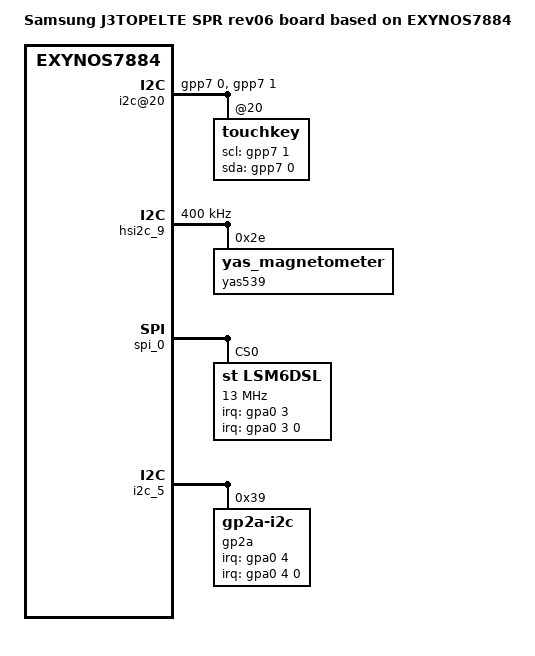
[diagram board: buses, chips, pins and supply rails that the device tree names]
/*
 * SAMSUNG UNIVERSAL7885 board device tree source
 *
 * Copyright (c) 2013 Samsung Electronics Co., Ltd.
 *		http://www.samsung.com
 *
 * This program is free software; you can redistribute it and/or modify
 * it under the terms of the GNU General Public License version 2 as
 * published by the Free Software Foundation.
*/

/dts-v1/;
#include "exynos7884-j3topelte_common.dtsi"
#include "exynos7884-j3topelte_usa_spr_gpio_08.dtsi"

/ {
	model = "Samsung J3TOPELTE SPR rev06 board based on EXYNOS7884";
	model_info-chip = <7885>;
	model_info-platform = "android";
	model_info-subtype = "samsung";
	model_info-hw_rev = <8>;
	model_info-hw_rev_end = <255>;
	compatible = "samsung, J3TOPELTE SPR rev06", "samsung,Universal7884";

	i2c@20 {
		gpios = <&gpp7 0 0
				&gpp7 1 0>;
		touchkey@20 {
			coreriver,scl-gpio = <&gpp7 1 0>;
			coreriver,sda-gpio = <&gpp7 0 0>;
		};
	};

	pinctrl@139B0000 {
		cfg_i2c: cfg-i2c {
			samsung,pins = "gpp7-1", "gpp7-0";
			samsung,pin-function = <2>;
			samsung,pin-pud = <0>;
			samsung,pin-drv = <0>;
		};
		cfg_gpio: cfg-gpio {
			samsung,pins = "gpp7-1", "gpp7-0";
			samsung,pin-function = <0>;
			samsung,pin-pud = <0>;
			samsung,pin-drv = <0>;
		};
	};

	speedy@11CE0000 {
		audio_codec_cod3035x: cod3035x@03 {
		use-lassenA;
		};
	};

	hsi2c_9: hsi2c@13990000 {
		status = "okay";
		#address-cells = <1>;
		#size-cells = <0>;
		clock-frequency = <400000>;
		pinctrl-names = "default";
		pinctrl-0 = <&hs_i2c9_bus>;

		yas539@2e {
			compatible = "yas_magnetometer";
			reg = <0x2e>;
			yas,orientation = <5>;
			yas,softiron = <10671 593 278 723 9485 41 21 7 10833>;
			yas,softiron_sign = <2 2 2 2 2 0 0 0 2>;
		};
	};

	spi_0: spi@13900000 {
		status = "okay";
		pinctrl-names = "default";
		pinctrl-0 = <&spi0_bus_acc>;

		lsm6dsl@0 {
			compatible = "st,lsm6dsl";
			reg = <0>;
			spi-max-frequency = <13000000>;
			gpio-controller;
			#gpio-cells = <2>;
			pinctrl-names = "default";
			pinctrl-0 = <&acc_int>;
			interrupt-parent = <&gpa0>;
			interrupts = <3 0 0>;
			st,irq_gpio = <&gpa0 3 0>;
			st,orientation = <1 2 1 2 1 1 1 1 0>;
			controller-data {
				samsung,spi-feedback-delay = <0>;
				samsung,spi-chip-select-mode = <0>;
			};
		};
	};

	i2c_5: i2c@13880000 {
		status = "okay";
		#address-cells = <1>;
		#size-cells = <0>;
		pinctrl-names = "default";
		pinctrl-0 = <&sensor_en &i2c5_bus>;

		gp2a@39 {
			compatible = "gp2a-i2c";
			reg = <0x39>;
			interrupt-parent = <&gpa0>;
			interrupts = <4 0 0>;
			pinctrl-names = "default";
			pinctrl-0 = <&prox_int>;
			gp2a,irq-gpio = <&gpa0 4 0x00>;
			gp2a,regulator_divided = <1>;
			gp2a,default_high_thd = <110>;
			gp2a,default_low_thd = <70>;
			gp2a,reg_intval = <0x03>;
			gp2a,reg_res_p = <0x20>;
			gp2a,reg_ledctrl = <0x24>;
			gp2a,reg_prst = <0x38>;
			gp2a,default_offset = <20>;
			gp2a,cancel_high_thd = <50>;
			gp2a,cancel_low_thd = <40>;
			gp2a,cal_skip_adc = <48>;
		};
	};

};

